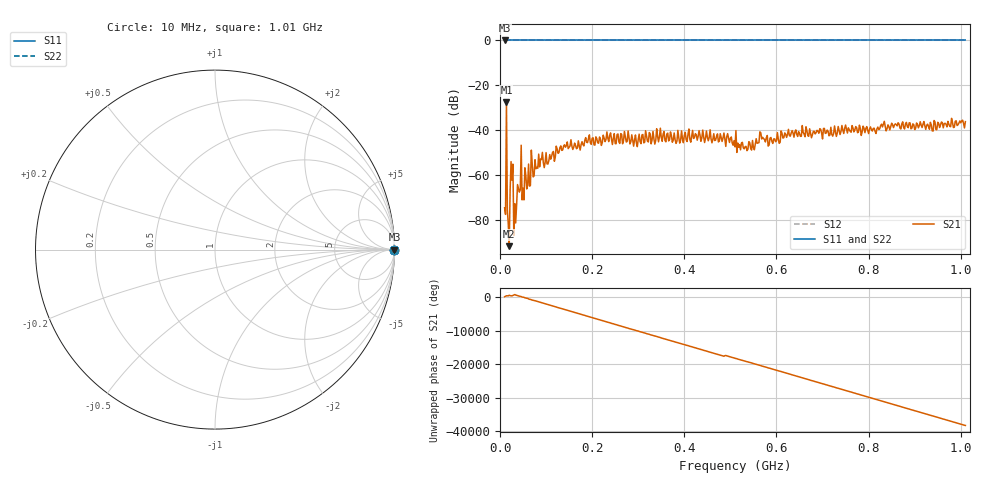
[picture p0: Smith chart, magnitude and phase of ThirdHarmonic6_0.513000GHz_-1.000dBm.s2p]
! 8/15/2025 3:40:55 PM
! C:\ANRITSUVNA\TEMP\TEMP.S2P
! CHANNEL.1
! TR.MEASUREMENT
! RAW.DATA
! RF.CORRECTION.OFF
! AVERAGING.OFF
! IF.BANDWIDTH: 5KHZ
! SWEEPTYPE:  FREQ.SWEEP(Linear)
! Reference Plane Port Info
! PORT:  PORT1  PORT2
! DISTANCE:  0  m  0  m
! TIME:  0  s  0  s
! PHASE.OFFSET:  0  deg.  0  deg.
! LOSS:  0  dB  0  dB
! REF.LOSS:  0  dB  0  dB
! REF.FREQ:  0  Hz  0  Hz
! Power Info
! POWER:  -20  dBm  -20  dBm
! EFF.POWER:  -20  dBm  -20  dBm
! SOURCE.ATTEN:  0  dB  0  dB
! TEST.ATTEN:  0  dB  0  dB
# GHZ S RI R 50.0
! FREQ.GHZ  S11RE  S11IM  S21RE  S21IM  S12RE  S12IM  S22RE  S22IM
!; PortSelection: Port_12
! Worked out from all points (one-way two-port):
!   501 points, 10 MHz to 1.01 GHz, reference 50 ohm
!   highest |S21| = -27.51 dB at 14 MHz (marker M1); lowest = -91.6 dB at 20 MHz (marker M2)
!   lowest |S11| = 0.0 dB at 10 MHz (marker M3)
!   |S11| at or under -10 dB: nowhere
!   |S22| runs from 0.0 to 0.0 dB; largest |S21 - S12| = 1
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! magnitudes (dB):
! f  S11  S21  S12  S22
! 10 MHz  0.0  -74.5  0.0  0.0
! 14 MHz  0.0  -27.5  0.0  0.0
! 18 MHz  0.0  -81.9  0.0  0.0
! 20 MHz  0.0  -91.6  0.0  0.0
! 24 MHz  0.0  -53.9  0.0  0.0
! 26 MHz  0.0  -62.2  0.0  0.0
! 34 MHz  0.0  -81.2  0.0  0.0
! 42 MHz  0.0  -67.5  0.0  0.0
! 62 MHz  0.0  -55.0  0.0  0.0
! 66 MHz  0.0  -64.6  0.0  0.0
! 88 MHz  0.0  -52.8  0.0  0.0
! 178 MHz  0.0  -45.1  0.0  0.0
! 236 MHz  0.0  -45.0  0.0  0.0
! 294 MHz  0.0  -42.1  0.0  0.0
! 344 MHz  0.0  -45.1  0.0  0.0
! 510 MHz  0.0  -47.4  0.0  0.0
! 534 MHz  0.0  -47.2  0.0  0.0
! 568 MHz  0.0  -43.9  0.0  0.0
! 586 MHz  0.0  -43.5  0.0  0.0
! 678 MHz  0.0  -42.0  0.0  0.0
! 844 MHz  0.0  -38.3  0.0  0.0
! 1.01 GHz  0.0  -36.1  0.0  0.0
